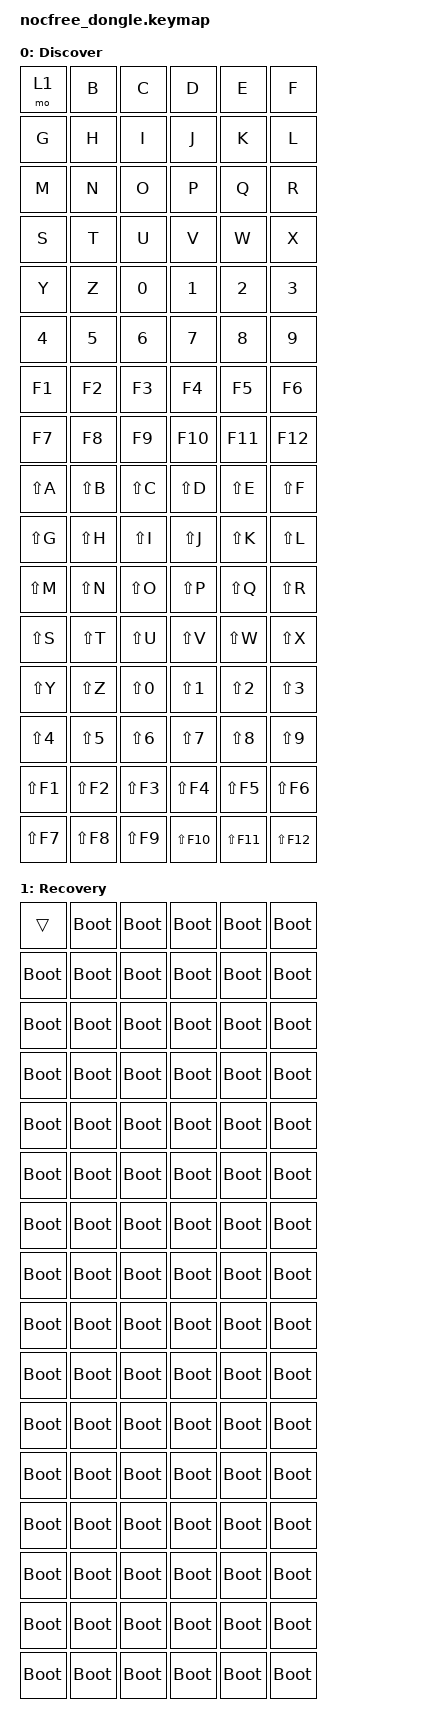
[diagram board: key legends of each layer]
/*
 * NOTE: this file IS the build's keymap for this board (ZMK picks <board>.keymap).
 * The left and right keymaps are intentionally identical during bring-up. There is
 * no separate "discover" keymap any more -- an earlier version had one that was
 * never built, because nothing includes it.
 */
/*
 * DONGLE (central) bring-up keymap -- 96 positions.
 *
 * In a ZMK dongle setup the keymap runs on the CENTRAL, and position events arrive
 * from both peripherals. So the central sees 48 (left) + 48 (right) = 96 positions,
 * NOT 48. Which half owns which half of the range depends on peripheral connection
 * order -- part of what the discovery pass establishes.
 *
 * &bootloader is source-specific: pressing a binding at a LEFT position resets the
 * LEFT half, even though the keymap lives here. That is how the halves stay
 * recoverable without their own keymaps.
 *
 * Layer 0: every position emits a distinct identifier, so pressing a key tells you
 *          its position number. 0-47 -> A..Z,N0..N9,F1..F12 ; 48-95 -> same again
 *          with LEFT_SHIFT held, so they arrive as capitals/shifted symbols.
 * Layer 1: every position is &bootloader. Reached by holding position 0.
 */

#include <behaviors.dtsi>
#include <dt-bindings/zmk/keys.h>

/ {

	/*
	 * DONGLE-INTO-DFU COMBO -- the ZMK equivalent of the vendor's Fn+6.
	 *
	 * &bootloader is normally "source-specific": pressing it on a half resets
	 * THAT half. Combos are the documented exception -- they always invoke
	 * reset behaviours on the CENTRAL. Since the dongle is the central, a combo
	 * pressed on either half drops the DONGLE into its UF2 bootloader, exactly
	 * like Fn+6 does on stock firmware.
	 *   https://zmk.dev/docs/keymaps/behaviors/reset
	 *
	 * WHAT THIS IS AND IS NOT:
	 *   It replaces Fn+6 for everyday use -- reflashing the dongle without
	 *   unplugging anything or running a script.
	 *   It is NOT a bootstrap recovery. It needs the split link up and kscan
	 *   working. If the dongle boots but cannot talk to the halves, this cannot
	 *   help; that is what the 1200-baud USB touch in recovery.c is for.
	 *
	 * POSITIONS ARE PLACEHOLDERS. 0 and 47 are chosen only because they are far
	 * apart and unlikely to be struck together. Once the pin->key mapping is
	 * known, move these to something deliberate and awkward (the vendor picked
	 * Fn+6 for a reason) so it cannot fire while typing.
	 */
	combos {
		compatible = "zmk,combos";

		dongle_bootloader {
			bindings = <&bootloader>;
			key-positions = <0 47>;
			timeout-ms = <50>;
			require-prior-idle-ms = <500>;
		};
	};

	keymap {
		compatible = "zmk,keymap";

		discover_layer: layer_0 {
			display-name = "Discover";
			bindings = <
				&mo 1             &kp B             &kp C             &kp D             &kp E             &kp F
				&kp G             &kp H             &kp I             &kp J             &kp K             &kp L
				&kp M             &kp N             &kp O             &kp P             &kp Q             &kp R
				&kp S             &kp T             &kp U             &kp V             &kp W             &kp X
				&kp Y             &kp Z             &kp N0            &kp N1            &kp N2            &kp N3
				&kp N4            &kp N5            &kp N6            &kp N7            &kp N8            &kp N9
				&kp F1            &kp F2            &kp F3            &kp F4            &kp F5            &kp F6
				&kp F7            &kp F8            &kp F9            &kp F10           &kp F11           &kp F12
				&kp LS(A)         &kp LS(B)         &kp LS(C)         &kp LS(D)         &kp LS(E)         &kp LS(F)
				&kp LS(G)         &kp LS(H)         &kp LS(I)         &kp LS(J)         &kp LS(K)         &kp LS(L)
				&kp LS(M)         &kp LS(N)         &kp LS(O)         &kp LS(P)         &kp LS(Q)         &kp LS(R)
				&kp LS(S)         &kp LS(T)         &kp LS(U)         &kp LS(V)         &kp LS(W)         &kp LS(X)
				&kp LS(Y)         &kp LS(Z)         &kp LS(N0)        &kp LS(N1)        &kp LS(N2)        &kp LS(N3)
				&kp LS(N4)        &kp LS(N5)        &kp LS(N6)        &kp LS(N7)        &kp LS(N8)        &kp LS(N9)
				&kp LS(F1)        &kp LS(F2)        &kp LS(F3)        &kp LS(F4)        &kp LS(F5)        &kp LS(F6)
				&kp LS(F7)        &kp LS(F8)        &kp LS(F9)        &kp LS(F10)       &kp LS(F11)       &kp LS(F12)
			>;
		};

		recovery_layer: layer_1 {
			display-name = "Recovery";
			bindings = <
				&trans         &bootloader    &bootloader    &bootloader    &bootloader    &bootloader
				&bootloader    &bootloader    &bootloader    &bootloader    &bootloader    &bootloader
				&bootloader    &bootloader    &bootloader    &bootloader    &bootloader    &bootloader
				&bootloader    &bootloader    &bootloader    &bootloader    &bootloader    &bootloader
				&bootloader    &bootloader    &bootloader    &bootloader    &bootloader    &bootloader
				&bootloader    &bootloader    &bootloader    &bootloader    &bootloader    &bootloader
				&bootloader    &bootloader    &bootloader    &bootloader    &bootloader    &bootloader
				&bootloader    &bootloader    &bootloader    &bootloader    &bootloader    &bootloader
				&bootloader    &bootloader    &bootloader    &bootloader    &bootloader    &bootloader
				&bootloader    &bootloader    &bootloader    &bootloader    &bootloader    &bootloader
				&bootloader    &bootloader    &bootloader    &bootloader    &bootloader    &bootloader
				&bootloader    &bootloader    &bootloader    &bootloader    &bootloader    &bootloader
				&bootloader    &bootloader    &bootloader    &bootloader    &bootloader    &bootloader
				&bootloader    &bootloader    &bootloader    &bootloader    &bootloader    &bootloader
				&bootloader    &bootloader    &bootloader    &bootloader    &bootloader    &bootloader
				&bootloader    &bootloader    &bootloader    &bootloader    &bootloader    &bootloader
			>;
		};
	};
};
